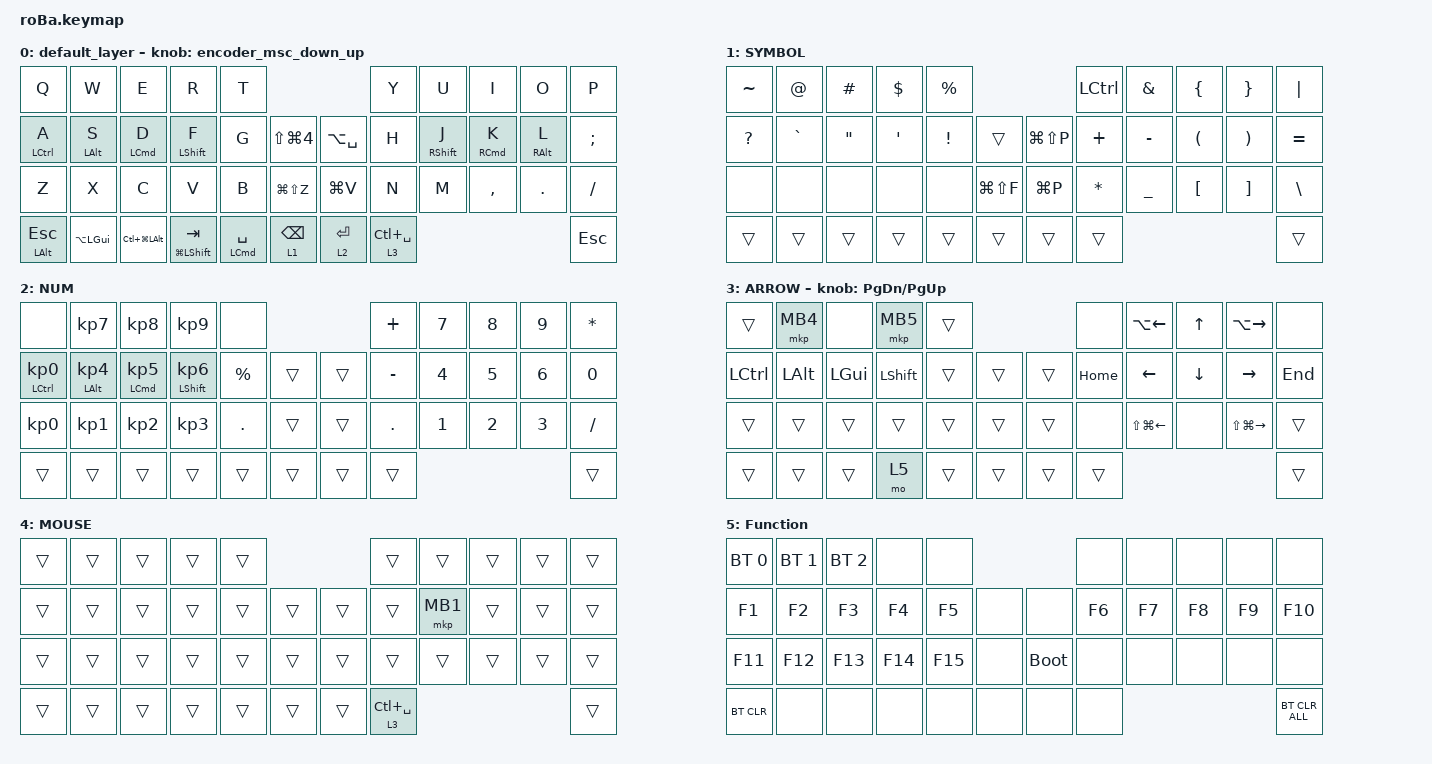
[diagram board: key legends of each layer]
#include <behaviors.dtsi>
#include <dt-bindings/zmk/bt.h>
#include <dt-bindings/zmk/keys.h>
#include <dt-bindings/zmk/pointing.h>

#define ZMK_POINTING_DEFAULT_SCRL_VAL 80

&mt {
    flavor = "hold-preferred";
    quick-tap-ms = <0>;
};

&lt { flavor = "hold-preferred"; };

&trackball {
    automouse-layer = <4>;
    scroll-layers = <5>;

    // arrows {
    //     layers = <3>;
    //     bindings =
    //         <&kp RIGHT_ARROW>,
    //         <&kp LEFT_ARROW>,
    //         <&kp UP_ARROW>,
    //         <&kp DOWN_ARROW>;
    //     tick = <10>;
    //     wait-ms = <5>;
    //     tap-ms = <5>;
    // };
};

/ {
    combos {
        compatible = "zmk,combos";

        mission-control {
            bindings = <&kp LC(UP_ARROW)>;
            key-positions = <11 12 13 10>;
        };

        desktop-prev {
            bindings = <&kp LC(LEFT_ARROW)>;
            key-positions = <11 12 13>;
            timeout-ms = <50>;
        };

        desktop-next {
            bindings = <&kp LC(RIGHT_ARROW)>;
            key-positions = <13 12 14>;
            timeout-ms = <50>;
        };

        scroll-up {
            bindings = <&msc SCRL_UP>;
            key-positions = <7 8>;
            timeout-ms = <40>;
        };

        scroll_down {
            bindings = <&msc SCRL_DOWN>;
            key-positions = <31 32>;
            timeout-ms = <40>;
        };

        click {
            bindings = <&mkp MB1>;
            key-positions = <19 18>;
            timeout-ms = <40>;
        };

        desktop {
            bindings = <&kp F11>;
            key-positions = <1 2 3>;
        };

        click-2 {
            bindings = <&mkp MB2>;
            key-positions = <20 19>;
            timeout-ms = <50>;
            layers = <4>;
        };

        click-3 {
            bindings = <&mkp MB3>;
            key-positions = <20 19 18>;
            timeout-ms = <50>;
            layers = <4>;
        };

        protect-gobaku {
            bindings = <&none>;
            key-positions = <22 23>;
            timeout-ms = <60>;
        };
    };

    macros {
        to_layer_0: to_layer_0 {
            compatible = "zmk,behavior-macro-one-param";
            #binding-cells = <1>;
            bindings = <&to 0 &macro_param_1to1 &kp MACRO_PLACEHOLDER>;
            label = "TO_LAYER_0";
        };
    };

    behaviors {
        lt_to_layer_0: lt_to_layer_0 {
            compatible = "zmk,behavior-hold-tap";
            label = "LAYER_TAP_TO_0";
            bindings = <&mo>, <&to_layer_0>;

            #binding-cells = <2>;
            tapping-term-ms = <200>;
        };

        thumb_lt: thumb_lt {
            compatible = "zmk,behavior-hold-tap";
            label = "THUMB_LT";
            bindings = <&mo>, <&kp>;

            #binding-cells = <2>;
            tapping-term-ms = <200>;
            quick-tap-ms = <200>;
        };

        home_l: home_l {
            compatible = "zmk,behavior-hold-tap";
            label = "HOME_L";
            bindings = <&kp>, <&kp>;

            #binding-cells = <2>;
            flavor = "tap-preferred";
            tapping-term-ms = <180>;
            quick-tap-ms = <300>;
            hold-trigger-on-release;
            require-prior-idle-ms = <80>;
        };

        home_r: home_r {
            compatible = "zmk,behavior-hold-tap";
            label = "HOME_R";
            bindings = <&kp>, <&kp>;

            #binding-cells = <2>;
            flavor = "tap-preferred";
            tapping-term-ms = <180>;
            quick-tap-ms = <300>;
            hold-trigger-key-positions = <41 40 39 38 37 0 1 2 3 4 10 11 12 13 14 22 23 24 25 26 34 35 36>;
            hold-trigger-on-release;
            require-prior-idle-ms = <100>;
        };

        // 新しいスクロール動作の追加

        encoder_msc_down_up: encoder_msc_down_up {
            compatible = "zmk,behavior-sensor-rotate";
            label = "ENCODER_MSC_DOWN_UP";
            #sensor-binding-cells = <0>;
            bindings = <&msc SCRL_DOWN>, <&msc SCRL_UP>;

            tap-ms = <20>;
        };

        thumb_cmd: thumb_cmd {
            compatible = "zmk,behavior-hold-tap";
            label = "THUMB_CMD";
            bindings = <&kp>, <&kp>;

            #binding-cells = <2>;
            tapping-term-ms = <200>;
            quick-tap-ms = <200>;
        };

        home_shift_l: home_shift_l {
            compatible = "zmk,behavior-hold-tap";
            label = "HOME_SHIFT_L";
            bindings = <&kp>, <&kp>;

            #binding-cells = <2>;
            flavor = "tap-preferred";
            tapping-term-ms = <180>;
            quick-tap-ms = <300>;
            hold-trigger-key-positions = <5 6 7 8 9 17 18 19 20 21 29 30 31 32 33 41 42 40 39 38 37>;
            hold-trigger-on-release;
            require-prior-idle-ms = <60>;
        };

        home_shift_r: home_shift_r {
            compatible = "zmk,behavior-hold-tap";
            label = "HOME_SHIFT_R";
            bindings = <&kp>, <&kp>;

            #binding-cells = <2>;
            flavor = "tap-preferred";
            tapping-term-ms = <180>;
            quick-tap-ms = <300>;
            hold-trigger-key-positions = <41 40 39 38 37 0 1 2 3 4 10 11 12 13 14 22 23 24 25 26 34 35 36>;
            hold-trigger-on-release;
            require-prior-idle-ms = <60>;
        };
    };

    keymap {
        compatible = "zmk,keymap";

        default_layer {
            bindings = <
&kp Q                &kp W               &kp E                   &kp R                       &kp T                                                                        &kp Y            &kp U                        &kp I                    &kp O                &kp P
&home_l LCTRL A      &home_l LEFT_ALT S  &home_l LEFT_COMMAND D  &home_shift_l LEFT_SHIFT F  &kp G                          &kp LS(LG(NUMBER_4))       &kp LA(SPACE)      &kp H            &home_shift_r RIGHT_SHIFT J  &home_r RIGHT_COMMAND K  &home_r RIGHT_ALT L  &kp SEMICOLON
&kp Z                &kp X               &kp C                   &kp V                       &kp B                          &kp LG(LS(Z))              &kp LG(V)          &kp N            &kp M                        &kp COMMA                &kp DOT              &kp SLASH
&mt LEFT_ALT ESCAPE  &kp LA(LEFT_GUI)    &kp LC(LG(LEFT_ALT))    &thumb_cmd LG(LSHIFT) TAB   &thumb_cmd LEFT_COMMAND SPACE  &thumb_lt 1 BACKSPACE      &thumb_lt 2 ENTER  &lt 3 LC(SPACE)                                                                             &kp ESC
            >;

            sensor-bindings = <&encoder_msc_down_up>;
        };

        SYMBOL {
            bindings = <
&kp TILDE     &kp AT_SIGN  &kp HASH           &kp DOLLAR  &kp PERCENT                                    &kp LCTRL     &kp AMPS   &kp LBRC  &kp RBRC  &kp PIPE
&kp QUESTION  &kp GRAVE    &kp DOUBLE_QUOTES  &kp SQT     &kp EXCL     &trans             &kp LG(LS(P))  &kp PLUS      &kp MINUS  &kp LPAR  &kp RPAR  &kp EQUAL
&none         &none        &none              &none       &none        &kp LG(LS(F))      &kp LG(P)      &kp ASTERISK  &kp UNDER  &kp LBKT  &kp RBKT  &kp BSLH
&trans        &trans       &trans             &trans      &trans       &trans             &trans         &trans                                       &trans
            >;
        };

        NUM {
            bindings = <
&none                             &kp KP_NUMBER_7               &kp KP_NUMBER_8                   &kp KP_NUMBER_9             &none                            &kp PLUS   &kp N7  &kp N8  &kp N9  &kp ASTRK
&home_l LEFT_CONTROL KP_NUMBER_0  &home_l LEFT_ALT KP_NUMBER_4  &home_l LEFT_COMMAND KP_NUMBER_5  &home_l LSHIFT KP_NUMBER_6  &kp PERCENT  &trans      &trans  &kp MINUS  &kp N4  &kp N5  &kp N6  &kp N0
&kp KP_N0                         &kp KP_NUMBER_1               &kp KP_NUMBER_2                   &kp KP_NUMBER_3             &kp PERIOD   &trans      &trans  &kp DOT    &kp N1  &kp N2  &kp N3  &kp SLASH
&trans                            &trans                        &trans                            &trans                      &trans       &trans      &trans  &trans                             &trans
            >;
        };

        ARROW {
            bindings = <
&trans     &mkp MB4  &none     &mkp MB5   &trans                      &none     &kp LA(LEFT_ARROW)      &kp UP_ARROW    &kp LA(RIGHT_ARROW)      &none
&kp LCTRL  &kp LALT  &kp LGUI  &kp LSHFT  &trans  &trans      &trans  &kp HOME  &kp LEFT_ARROW          &kp DOWN_ARROW  &kp RIGHT_ARROW          &kp END
&trans     &trans    &trans    &trans     &trans  &trans      &trans  &none     &kp LS(LG(LEFT_ARROW))  &none           &kp LS(LG(RIGHT_ARROW))  &trans
&trans     &trans    &trans    &mo 5      &trans  &trans      &trans  &trans                                                                     &trans
            >;

            sensor-bindings = <&inc_dec_kp PAGE_DOWN PAGE_UP>;
        };

        MOUSE {
            bindings = <
&trans  &trans  &trans  &trans  &trans                      &trans           &trans    &trans  &trans  &trans
&trans  &trans  &trans  &trans  &trans  &trans      &trans  &trans           &mkp MB1  &trans  &trans  &trans
&trans  &trans  &trans  &trans  &trans  &trans      &trans  &trans           &trans    &trans  &trans  &trans
&trans  &trans  &trans  &trans  &trans  &trans      &trans  &lt 3 LC(SPACE)                            &trans
            >;
        };

        Function {
            bindings = <
&bt BT_SEL 0  &bt BT_SEL 1  &bt BT_SEL 2  &none    &none                            &none   &none   &none   &none   &none
&kp F1        &kp F2        &kp F3        &kp F4   &kp F5   &none      &none        &kp F6  &kp F7  &kp F8  &kp F9  &kp F10
&kp F11       &kp F12       &kp F13       &kp F14  &kp F15  &none      &bootloader  &none   &none   &none   &none   &none
&bt BT_CLR    &none         &none         &none    &none    &none      &none        &none                           &bt BT_CLR_ALL
            >;
        };
    };
};
